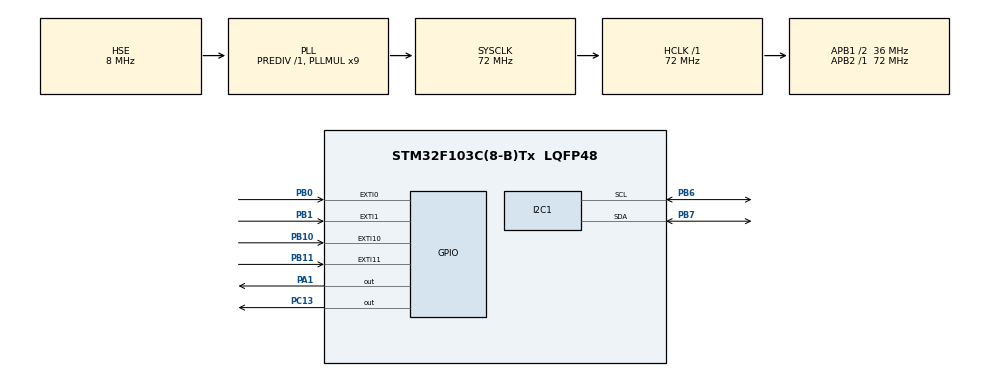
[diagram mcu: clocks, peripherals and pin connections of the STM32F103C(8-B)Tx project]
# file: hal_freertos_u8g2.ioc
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FREERTOS.Tasks01=defaultTask,24,128,StartDefaultTask,Default,NULL,Dynamic,NULL,NULL
I2C1.I2C_Mode=I2C_Fast
Mcu.Family=STM32F1
Mcu.Name=STM32F103C(8-B)Tx
Mcu.Package=LQFP48
NVIC.EXTI0_IRQn=true\:5\:0\:false\:false\:true\:true\:true\:true\:true
NVIC.EXTI15_10_IRQn=true\:5\:0\:false\:false\:true\:true\:true\:true\:true
NVIC.EXTI1_IRQn=true\:5\:0\:false\:false\:true\:true\:true\:true\:true
NVIC.PriorityGroup=NVIC_PRIORITYGROUP_4
NVIC.TIM1_BRK_IRQn=true\:5\:0\:false\:false\:true\:true\:true\:true\:true
NVIC.TIM4_IRQn=true\:15\:0\:false\:false\:true\:false\:false\:true\:true
NVIC.TimeBase=TIM4_IRQn
NVIC.TimeBaseIP=TIM4
PA1.GPIO_ModeDefaultOutputPP=GPIO_MODE_OUTPUT_OD
PA1.GPIO_PuPd=GPIO_PULLUP
PA1.Signal=GPIO_Output
PA13.Mode=Serial_Wire
PA13.Signal=SYS_JTMS-SWDIO
PA14.Mode=Serial_Wire
PA14.Signal=SYS_JTCK-SWCLK
PB0.GPIO_PuPd=GPIO_PULLUP
PB0.Signal=GPXTI0
PB1.GPIO_PuPd=GPIO_PULLUP
PB1.Signal=GPXTI1
PB10.GPIO_PuPd=GPIO_PULLUP
PB10.Signal=GPXTI10
PB11.GPIO_PuPd=GPIO_PULLUP
PB11.Signal=GPXTI11
PB6.Mode=I2C
PB6.Signal=I2C1_SCL
PB7.Mode=I2C
PB7.Signal=I2C1_SDA
PC13-TAMPER-RTC.Signal=GPIO_Output
PD0-OSC_IN.Mode=HSE-External-Oscillator
PD0-OSC_IN.Signal=RCC_OSC_IN
PD1-OSC_OUT.Mode=HSE-External-Oscillator
PD1-OSC_OUT.Signal=RCC_OSC_OUT
ProjectManager.HeapSize=0x200
ProjectManager.StackSize=0x400
ProjectManager.TargetToolchain=MDK-ARM V5
RCC.AHBFreq_Value=72000000
RCC.APB1CLKDivider=RCC_HCLK_DIV2
RCC.APB1Freq_Value=36000000
RCC.APB1TimFreq_Value=72000000
RCC.APB2Freq_Value=72000000
RCC.APB2TimFreq_Value=72000000
RCC.HCLKFreq_Value=72000000
RCC.PLLMUL=RCC_PLL_MUL9
RCC.PLLSourceVirtual=RCC_PLLSOURCE_HSE
RCC.SYSCLKFreq_VALUE=72000000
RCC.SYSCLKSource=RCC_SYSCLKSOURCE_PLLCLK
RCC.USBFreq_Value=72000000
TIM1.AutoReloadPreload=TIM_AUTORELOAD_PRELOAD_ENABLE
TIM1.ClockDivision=TIM_CLOCKDIVISION_DIV2
TIM1.Period=9999
TIM1.Prescaler=7199
VP_FREERTOS_VS_CMSIS_V2.Mode=CMSIS_V2
VP_SYS_VS_tim4.Mode=TIM4
VP_TIM1_VS_ClockSourceINT.Mode=Internal
board=custom

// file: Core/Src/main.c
/* USER CODE BEGIN Header */
/**
  ******************************************************************************
  * @file           : main.c
  * @brief          : Main program body
  ******************************************************************************
  * @attention
  *
  * Copyright (c) 2024 STMicroelectronics.
  * All rights reserved.
  *
  * This software is licensed under terms that can be found in the LICENSE file
  * in the root directory of this software component.
  * If no LICENSE file comes with this software, it is provided AS-IS.
  *
  ******************************************************************************
  */
/* USER CODE END Header */
#include "main.h"
#include "cmsis_os.h"
#include "i2c.h"
#include "tim.h"
#include "gpio.h"

void SystemClock_Config(void);
void MX_FREERTOS_Init(void);

int main(void)
{

  /* MCU Configuration--------------------------------------------------------*/

  /* Reset of all peripherals, Initializes the Flash interface and the Systick. */
  HAL_Init();

  /* Configure the system clock */
  SystemClock_Config();

  /* Initialize all configured peripherals */
  MX_GPIO_Init();
  MX_I2C1_Init();
  MX_TIM1_Init();

  /* Init scheduler */
  osKernelInitialize();  /* Call init function for freertos objects (in freertos.c) */
  MX_FREERTOS_Init();

  /* Start scheduler */
  osKernelStart();
  /* We should never get here as control is now taken by the scheduler */
  /* Infinite loop */
  while (1)
  {

  }
}

void SystemClock_Config(void)
{
  RCC_OscInitTypeDef RCC_OscInitStruct = {0};
  RCC_ClkInitTypeDef RCC_ClkInitStruct = {0};

  /** Initializes the RCC Oscillators according to the specified parameters
  * in the RCC_OscInitTypeDef structure.
  */
  RCC_OscInitStruct.OscillatorType = RCC_OSCILLATORTYPE_HSE;
  RCC_OscInitStruct.HSEState = RCC_HSE_ON;
  RCC_OscInitStruct.HSEPredivValue = RCC_HSE_PREDIV_DIV1;
  RCC_OscInitStruct.HSIState = RCC_HSI_ON;
  RCC_OscInitStruct.PLL.PLLState = RCC_PLL_ON;
  RCC_OscInitStruct.PLL.PLLSource = RCC_PLLSOURCE_HSE;
  RCC_OscInitStruct.PLL.PLLMUL = RCC_PLL_MUL9;
  if (HAL_RCC_OscConfig(&RCC_OscInitStruct) != HAL_OK)
  {
    Error_Handler();
  }

  /** Initializes the CPU, AHB and APB buses clocks
  */
  RCC_ClkInitStruct.ClockType = RCC_CLOCKTYPE_HCLK|RCC_CLOCKTYPE_SYSCLK
                              |RCC_CLOCKTYPE_PCLK1|RCC_CLOCKTYPE_PCLK2;
  RCC_ClkInitStruct.SYSCLKSource = RCC_SYSCLKSOURCE_PLLCLK;
  RCC_ClkInitStruct.AHBCLKDivider = RCC_SYSCLK_DIV1;
  RCC_ClkInitStruct.APB1CLKDivider = RCC_HCLK_DIV2;
  RCC_ClkInitStruct.APB2CLKDivider = RCC_HCLK_DIV1;

  if (HAL_RCC_ClockConfig(&RCC_ClkInitStruct, FLASH_LATENCY_2) != HAL_OK)
  {
    Error_Handler();
  }
}

void HAL_TIM_PeriodElapsedCallback(TIM_HandleTypeDef *htim)
{
  if (htim->Instance == TIM4) {
    HAL_IncTick();
  }
}

void Error_Handler(void)
{
  __disable_irq();
  while (1)
  {
  }
}

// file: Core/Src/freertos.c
/* USER CODE BEGIN Header */
/**
  ******************************************************************************
  * File Name          : freertos.c
  * Description        : Code for freertos applications
  ******************************************************************************
  * @attention
  *
  * Copyright (c) 2024 STMicroelectronics.
  * All rights reserved.
  *
  * This software is licensed under terms that can be found in the LICENSE file
  * in the root directory of this software component.
  * If no LICENSE file comes with this software, it is provided AS-IS.
  *
  ******************************************************************************
  */
/* USER CODE END Header */

#include "FreeRTOS.h"
#include "task.h"
#include "main.h"
#include "cmsis_os.h"

/* USER CODE BEGIN Includes */
#include "event_groups.h"
#include "queue.h"
#include "beep.h"
#include "Data.h"
#include "ShowTimeTask.h"
#include "ShowMenu.h"
//#include "ShowCalendar.h"
//#include "ShowClock.h"
//#include "ShowFlashLight.h"
//#include "ShowSetting.h"
//#include "ShowWoodenFish.h"
//#include "ShowHRSPO2.h"
//#include "RootTask.h"
/*dongshan_driver*/
//#include "driver_dht11.h"
//#include "driver_passive_buzzer.h"
/* USER CODE END Includes */

/* USER CODE BEGIN PD */

#define Task_default_size 128

/* USER CODE END PD */

/* USER CODE BEGIN Variables */
/* some task handle */
TimerHandle_t g_Timer;
TimerHandle_t g_Clock_Timer;

TaskHandle_t xRootTaskHandle = NULL;

TaskHandle_t xShowTimeTaskHandle = NULL;
TaskHandle_t xShowMenuTaskHandle = NULL;
TaskHandle_t xShowCalendarTaskHandle = NULL;
TaskHandle_t xShowClockTaskHandle = NULL;
TaskHandle_t xShowFlashLightTaskHandle = NULL;
TaskHandle_t xShowSettingTaskHandle = NULL;
TaskHandle_t xShowWoodenFishTaskHandle = NULL;
TaskHandle_t xShowDHT11TaskHandle = NULL;
TaskHandle_t xShowBMP280TaskHandle = NULL;
TaskHandle_t xShowHRSPO2TaskHandle = NULL;

QueueHandle_t g_xQueueMenu;
uint16_t key1_filter = 0;
uint16_t key2_filter = 0;
uint16_t key3_filter = 0;
uint16_t key4_filter = 0;

/* USER CODE END Variables */
/* Definitions for defaultTask */
osThreadId_t defaultTaskHandle;
const osThreadAttr_t defaultTask_attributes = {
  .name = "defaultTask",
  .stack_size = 128 * 4,
  .priority = (osPriority_t) osPriorityNormal,
};

/* USER CODE BEGIN FunctionPrototypes */

extern void ClockTimerCallBackFun(void);

extern void ShowDHT11Task(void *params);
extern void ShowBMP280Task(void *params);
extern void ShowCalendarTask(void *params);
extern void ShowFlashLightTask(void *params);
extern void ShowWoodenFishTask(void *params);
extern void ShowClockTimeTask(void *params);
extern void ShowSetting_Task(void *params);

/* USER CODE END FunctionPrototypes */

void StartDefaultTask(void *argument);

void MX_FREERTOS_Init(void); /* (MISRA C 2004 rule 8.1) */

void MX_FREERTOS_Init(void) {
  /* USER CODE BEGIN Init */
	buzzer_init();
  /* USER CODE END Init */

  /* USER CODE BEGIN RTOS_TIMERS */
  /* start timers, add new ones, ... */
	/* time and clock's Timer */
	g_Timer = xTimerCreate("Timer1",
				1000,
				pdTRUE,
				NULL,
				(TimerCallbackFunction_t)TimerCallBackFun);

	g_Clock_Timer = xTimerCreate("Timer2",
				100,
				pdTRUE,
				NULL,
				(TimerCallbackFunction_t)ClockTimerCallBackFun);
  /* USER CODE END RTOS_TIMERS */

  /* USER CODE BEGIN RTOS_QUEUES */
  /* add queues, ... */
  g_xQueueMenu = xQueueCreate(4, 4);
  /* USER CODE END RTOS_QUEUES */

  /* Create the thread(s) */
  /* creation of defaultTask */
  defaultTaskHandle = osThreadNew(StartDefaultTask, NULL, &defaultTask_attributes);

  /* USER CODE BEGIN RTOS_THREADS */
  /* add threads, ... */

  /* create some tasks */
	xTaskCreate(ShowTimeTask, "ShowTimeTask", 128, NULL, osPriorityNormal, &xShowTimeTaskHandle);
	xTaskCreate(ShowMenuTask, "ShowMenuTask", 128, NULL, osPriorityNormal, &xShowMenuTaskHandle);

/******** 5 apps ********/
	/*1*/
  	xTaskCreate(ShowCalendarTask, "ShowCalendarTask", 256, NULL, osPriorityNormal, &xShowCalendarTaskHandle);
	/*2*/
  	xTaskCreate(ShowFlashLightTask, "ShowFlashLightTask", Task_default_size, NULL, osPriorityNormal, &xShowFlashLightTaskHandle);
    /*3*/
  	xTaskCreate(ShowDHT11Task, "ShowDHT11Task", Task_default_size, NULL, osPriorityNormal, &xShowDHT11TaskHandle);
    /*4*/
  	xTaskCreate(ShowBMP280Task, "ShowBMP280Task", 256, NULL, osPriorityNormal, &xShowBMP280TaskHandle);
	//xTaskCreate(ShowWoodenFishTask, "ShowWoodenFishTask", Task_default_size, NULL, osPriorityNormal, &xShowWoodenFishTaskHandle);
    /*5*/
  	xTaskCreate(ShowClockTimeTask, "ShowClockTimeTask", Task_default_size, NULL, osPriorityNormal, &xShowClockTaskHandle);
	/*6*/
  	xTaskCreate(ShowSetting_Task, "ShowSetting_Task", 256, NULL, osPriorityNormal, &xShowSettingTaskHandle);

//	PassiveBuzzer_Test();
  /* USER CODE END RTOS_THREADS */

}

void StartDefaultTask(void *argument)
{
  /* USER CODE BEGIN StartDefaultTask */
  /* Infinite loop */

	/* launch time Timer */
	if(g_Timer != NULL)
	{
		xTimerStart(g_Timer, 0);
	}
	for(;;)
	{
		osDelay(1);
	}
  /* USER CODE END StartDefaultTask */
}

/* USER CODE BEGIN Application */
void HAL_GPIO_EXTI_Callback(uint16_t GPIO_Pin)
{
	/* key interrupt : send data to queue */

	/* some data maybe useless */
	extern BaseType_t end_flag;
	extern BaseType_t seclect_end;
	BaseType_t  RM_Flag, LM_Flag, EN_Flag, EX_Flag;
	Key_data key_data;

	/* Simple debounce using system tick */
	static uint32_t last_tick = 0;
	if (xTaskGetTickCountFromISR() - last_tick < 200) return;
	last_tick = xTaskGetTickCountFromISR();

    if(GPIO_Pin == GPIO_PIN_6)
	{
		if(HAL_GPIO_ReadPin(GPIOA, GPIO_PIN_6) == GPIO_PIN_SET)
		{
			if(end_flag == 1&&seclect_end == 0)
			{
				RM_Flag = 1;
				key_data.rdata = RM_Flag;
				xQueueSendToBackFromISR(g_xQueueMenu, &key_data, NULL);
				HAL_GPIO_WritePin(GPIOC, GPIO_PIN_13, GPIO_PIN_RESET);
				RM_Flag = 0;
			}
		}
	}
	if(GPIO_Pin == GPIO_PIN_5)
	{
		if(HAL_GPIO_ReadPin(GPIOA, GPIO_PIN_5) == GPIO_PIN_SET)
		{
			if(end_flag == 1&&seclect_end == 0)
			{
				LM_Flag = 1;
				key_data.ldata = LM_Flag;
				xQueueSendToBackFromISR(g_xQueueMenu, &key_data, NULL);
				HAL_GPIO_WritePin(GPIOC, GPIO_PIN_13, GPIO_PIN_RESET);
				LM_Flag = 0;
			}
		}
	}
	if(GPIO_Pin == GPIO_PIN_4)
	{
		if(HAL_GPIO_ReadPin(GPIOA, GPIO_PIN_4) == GPIO_PIN_SET)
		{
			if(end_flag == 1&&seclect_end == 0)
			{
				EN_Flag = 1;
				key_data.updata = EN_Flag;
				xQueueSendToBackFromISR(g_xQueueMenu, &key_data, NULL);
				HAL_GPIO_WritePin(GPIOC, GPIO_PIN_13, GPIO_PIN_RESET);
				EN_Flag = 0;
			}
		}
	}
	if(GPIO_Pin == GPIO_PIN_3)
	{
		if(HAL_GPIO_ReadPin(GPIOA, GPIO_PIN_3) == GPIO_PIN_SET)
		{
			if(end_flag == 1&&seclect_end == 0)
			{
				EX_Flag = 1;
				key_data.exdata = EX_Flag;
				if(end_flag == 1&&seclect_end == 0)xQueueSendToBackFromISR(g_xQueueMenu, &key_data, NULL);
				HAL_GPIO_WritePin(GPIOC, GPIO_PIN_13, GPIO_PIN_RESET);
				EX_Flag = 0;
			}
		}
	}
}
/* USER CODE END Application */
